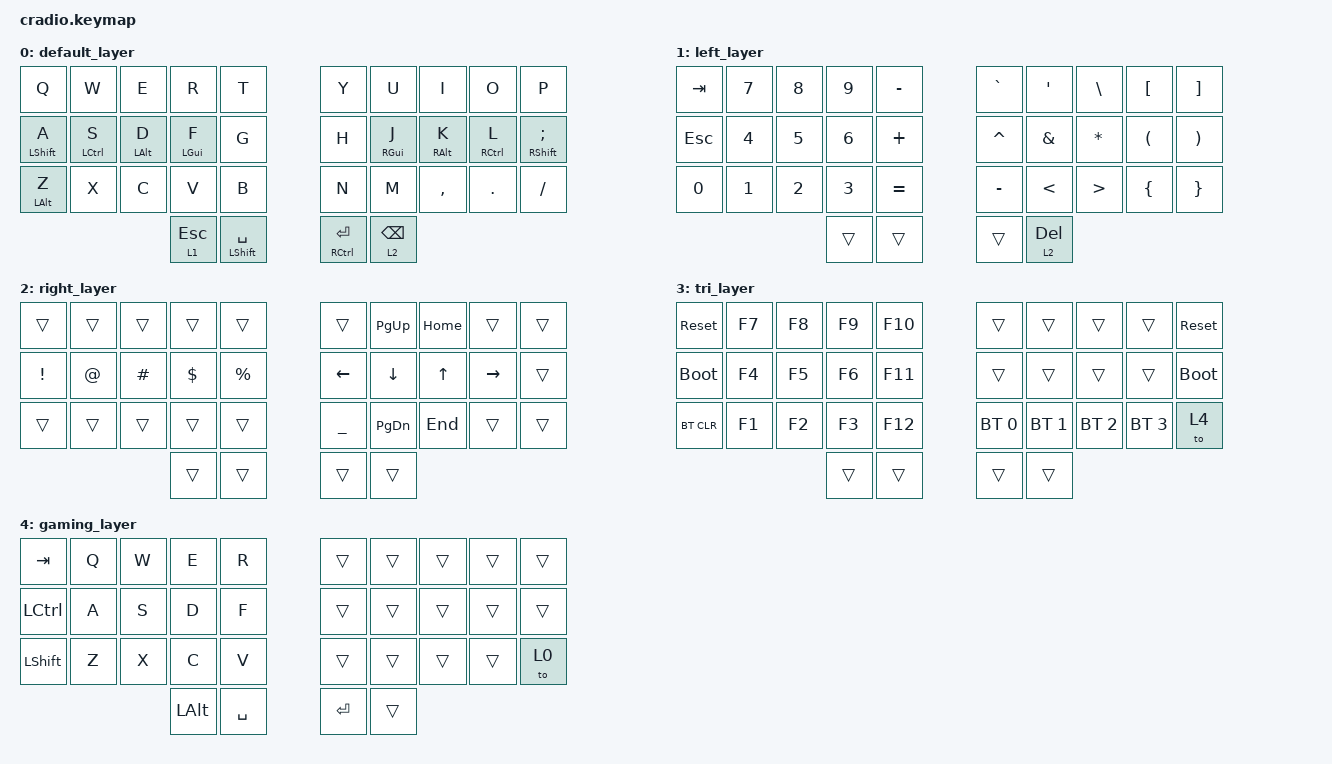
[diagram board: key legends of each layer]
// Copyright (c) 2022 The ZMK Contributors
// SPDX-License-Identifier: MIT

#include <behaviors.dtsi>
#include <dt-bindings/zmk/bt.h>
#include <dt-bindings/zmk/keys.h>

/ {
    behaviors {
        ht: hold_tap {
            compatible = "zmk,behavior-hold-tap";
            #binding-cells = <2>;
            flavor = "hold-preferred";
            tapping-term-ms = <220>;
            quick-tap-ms = <150>;
            require-prior-idle-ms = <125>;
            bindings = <&kp>, <&kp>;
        };

        hml: hml {
            compatible = "zmk,behavior-hold-tap";
            label = "HML";
            bindings = <&kp>, <&kp>;

            #binding-cells = <2>;
            tapping-term-ms = <300>;
            quick-tap-ms = <200>;
            require-prior-idle-ms = <125>;
            flavor = "balanced";
            hold-trigger-on-release;
            hold-trigger-key-positions = <5 6 7 8 9 15 16 17 18 19 25 26 27 28 29 32 33>;
        };

        hmr: hmr {
            compatible = "zmk,behavior-hold-tap";
            label = "HMR";
            bindings = <&kp>, <&kp>;

            #binding-cells = <2>;
            tapping-term-ms = <300>;
            quick-tap-ms = <200>;
            require-prior-idle-ms = <125>;
            flavor = "balanced";
            hold-trigger-on-release;
            hold-trigger-key-positions = <0 1 2 3 4 10 11 12 13 14 20 21 22 23 24 30 31>;
        };

        mylt: mylt {
            compatible = "zmk,behavior-hold-tap";
            label = "MYLT";
            bindings = <&mo>, <&kp>;

            #binding-cells = <2>;
            tapping-term-ms = <300>;
            quick-tap-ms = <200>;
            flavor = "hold-preferred";
        };
    };

    conditional_layers {
        compatible = "zmk,conditional-layers";

        tri_layer {
            if-layers = <1 2>;
            then-layer = <3>;
        };
    };

    combos {
        compatible = "zmk,combos";

        ctrltab {
            bindings = <&kp LC(TAB)>;
            key-positions = <10 0>;
        };

        alttab {
            bindings = <&kp LA(TAB)>;
            key-positions = <20 0>;
        };
    };

    keymap {
        compatible = "zmk,keymap";

        default_layer {
            bindings = <
&kp Q           &kp W         &kp E        &kp R        &kp T              &kp Y            &kp U         &kp I        &kp O         &kp P
&hml LSHIFT A   &hml LCTRL S  &hml LALT D  &hml LGUI F  &kp G              &kp H            &hmr RGUI J   &hmr RALT K  &hmr RCTRL L  &hmr RSHFT SEMICOLON
&ht LEFT_ALT Z  &kp X         &kp C        &kp V        &kp B              &kp N            &kp M         &kp COMMA    &kp DOT       &kp FSLH
                                           &mylt 1 ESC  &ht LSHFT SPACE    &ht RCTRL ENTER  &mylt 2 BSPC
            >;
        };

        left_layer {
            bindings = <
&kp TAB     &kp N7  &kp N8  &kp N9  &kp MINUS    &kp GRAVE  &kp SQT         &kp BSLH          &kp LBKT              &kp RBKT
&kp ESCAPE  &kp N4  &kp N5  &kp N6  &kp PLUS     &kp CARET  &kp AMPERSAND   &kp ASTERISK      &kp LEFT_PARENTHESIS  &kp RIGHT_PARENTHESIS
&kp N0      &kp N1  &kp N2  &kp N3  &kp EQUAL    &kp MINUS  &kp LESS_THAN   &kp GREATER_THAN  &kp LEFT_BRACE        &kp RIGHT_BRACE
                            &trans  &trans       &trans     &mylt 2 DELETE
            >;
        };

        right_layer {
            bindings = <
&trans    &trans  &trans    &trans    &trans       &trans     &kp PG_UP  &kp HOME  &trans     &trans
&kp EXCL  &kp AT  &kp HASH  &kp DLLR  &kp PRCNT    &kp LEFT   &kp DOWN   &kp UP    &kp RIGHT  &trans
&trans    &trans  &trans    &trans    &trans       &kp UNDER  &kp PG_DN  &kp END   &trans     &trans
                            &trans    &trans       &trans     &trans
            >;
        };

        tri_layer {
            bindings = <
&sys_reset   &kp F7  &kp F8  &kp F9  &kp F10    &trans        &trans        &trans        &trans        &sys_reset
&bootloader  &kp F4  &kp F5  &kp F6  &kp F11    &trans        &trans        &trans        &trans        &bootloader
&bt BT_CLR   &kp F1  &kp F2  &kp F3  &kp F12    &bt BT_SEL 0  &bt BT_SEL 1  &bt BT_SEL 2  &bt BT_SEL 3  &to 4
                             &trans  &trans     &trans        &trans
            >;
        };

        gaming_layer {
            bindings = <
&kp TAB    &kp Q  &kp W  &kp E     &kp R        &trans     &trans  &trans  &trans  &trans
&kp LCTRL  &kp A  &kp S  &kp D     &kp F        &trans     &trans  &trans  &trans  &trans
&kp LSHFT  &kp Z  &kp X  &kp C     &kp V        &trans     &trans  &trans  &trans  &to 0
                         &kp LALT  &kp SPACE    &kp ENTER  &trans
            >;
        };
    };
};
